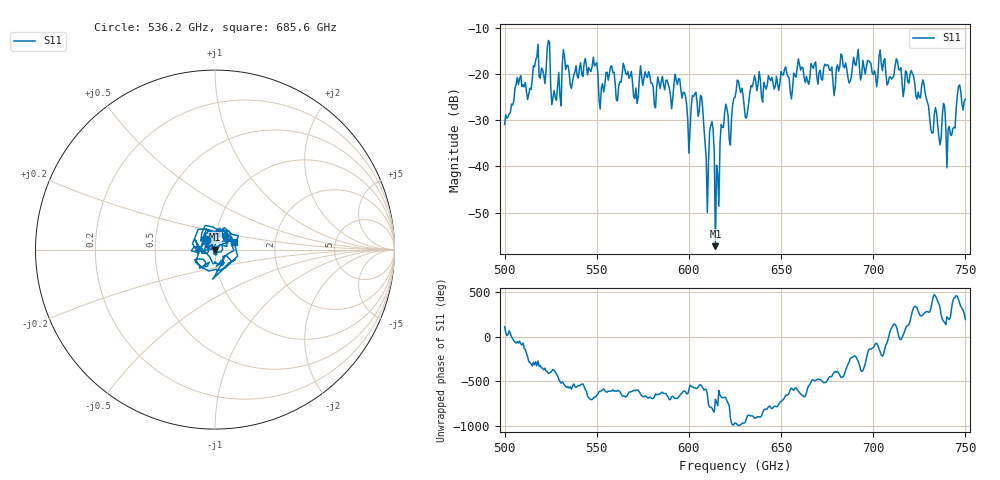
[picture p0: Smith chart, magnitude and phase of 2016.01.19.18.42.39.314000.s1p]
!Created with skrf (http://scikit-rf.org).
# GHz S RI R 50.0
!freq ReS11 ImS11
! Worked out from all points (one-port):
!   401 points, 500 GHz to 750 GHz, reference 50 ohm
!   lowest |S11| = -57.3 dB at 614.4 GHz (marker M1), VSWR 1.00, Z = 50.1 + j0.0511 ohm
!   |S11| at or under -10 dB: start of sweep to end of sweep
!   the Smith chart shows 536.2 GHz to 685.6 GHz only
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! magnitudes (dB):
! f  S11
! 500 GHz  -30.9
! 507.5 GHz  -22.3
! 513.1 GHz  -24.3
! 516.9 GHz  -17.0
! 523.8 GHz  -12.8
! 526.9 GHz  -23.6
! 531.2 GHz  -18.3
! 562.5 GHz  -21.7
! 593.8 GHz  -22.3
! 600 GHz  -37.2
! 602.5 GHz  -24.9
! 606.9 GHz  -25.0
! 609.4 GHz  -38.2
! 612.5 GHz  -30.3
! 614.4 GHz  -57.3
! 615.6 GHz  -41.7
! 618.8 GHz  -31.6
! 622.5 GHz  -35.4
! 625 GHz  -25.1
! 631.2 GHz  -29.5
! 635 GHz  -21.8
! 656.2 GHz  -23.0
! 660 GHz  -18.0
! 687.5 GHz  -21.6
! 718.8 GHz  -21.7
! 741.2 GHz  -31.3
! 746.2 GHz  -22.7
! 750 GHz  -25.5
